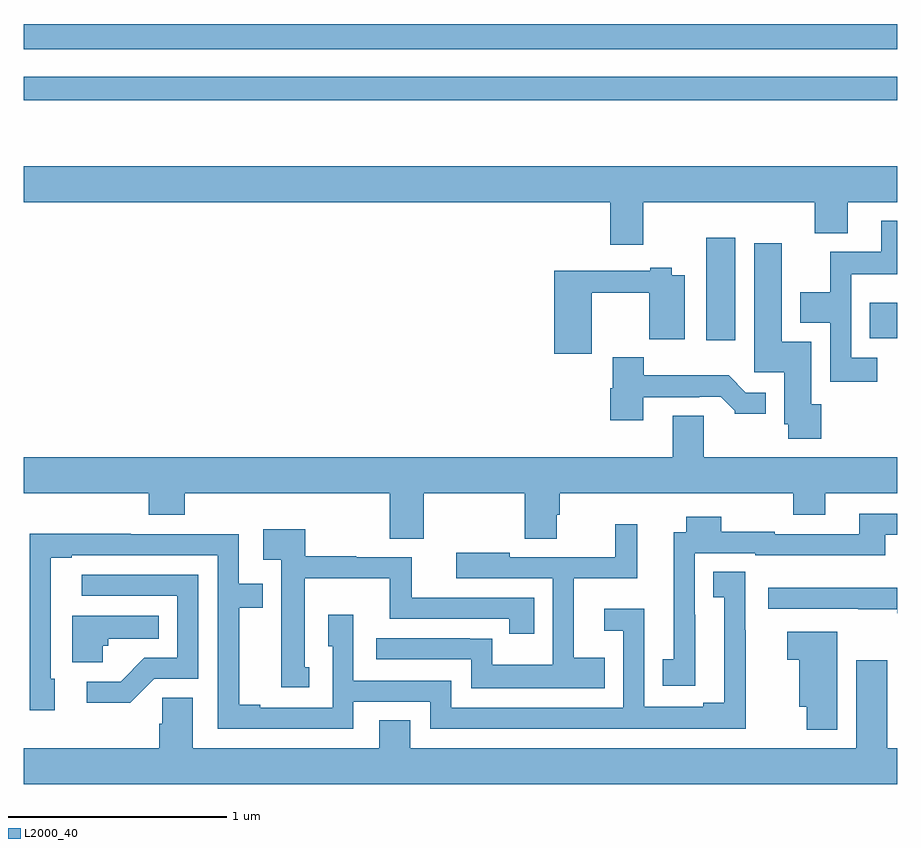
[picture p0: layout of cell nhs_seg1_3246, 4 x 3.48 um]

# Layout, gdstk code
import gdstk
lib = gdstk.Library(unit=1e-6, precision=1e-09)
def R(c, l, rs):  # rectangles x0, y0, x1, y1
    for r in rs: c.add(gdstk.rectangle(r[:2], r[2:], *l))
def P(c, l, *ps):  # polygons
    for p in ps: c.add(gdstk.Polygon(p, *l))
L2000_40 = (2000, 40)

nhs_seg1_3246 = lib.new_cell('nhs_seg1_3246')
R(nhs_seg1_3246, L2000_40, [(290.126,528.456,290.257,528.925), (290.875,528.464,291,528.628), (287,529.554,291,529.662), (287,529.788,291,529.904)])
P(nhs_seg1_3246, L2000_40, [(289.837,529.088),(290.621,529.088),(290.621,528.947),(290.773,528.947),(290.773,529.088),(291,529.088),(291,529.252),(287,529.252),(287,529.088),(289.685,529.088),(289.685,528.894),(289.837,528.894)],
  [(290.908,528.375),(290.79,528.375),(290.79,528.758),(291,528.758),(291,529.003),(290.927,529.003),(290.927,528.862),(290.692,528.862),(290.692,528.676),(290.555,528.676),(290.555,528.536),(290.694,528.536),(290.694,528.267),(290.908,528.267)],
  [(290.652,528.162),(290.605,528.162),(290.605,528.448),(290.47,528.448),(290.47,528.901),(290.345,528.901),(290.345,528.309),(290.483,528.309),(290.483,528.072),(290.5,528.072),(290.5,528.006),(290.652,528.006)],
  [(289.6,528.673),(289.864,528.673),(289.864,528.461),(290.026,528.461),(290.026,528.754),(289.968,528.754),(289.968,528.787),(289.868,528.787),(289.868,528.774),(289.43,528.774),(289.43,528.393),(289.6,528.393)],
  [(289.837,528.195),(290.093,528.195),(290.093,528.198),(290.192,528.198),(290.256,528.134),(290.256,528.119),(290.398,528.119),(290.398,528.216),(290.307,528.216),(290.229,528.295),(289.84,528.295),(289.84,528.379),(289.697,528.379),(289.697,528.237),(289.685,528.237),(289.685,528.09),(289.837,528.09)],
  [(289.973,528.11),(289.973,527.92),(287,527.92),(287,527.756),(287.573,527.756),(287.573,527.657),(287.738,527.657),(287.738,527.756),(288.676,527.756),(288.676,527.548),(288.831,527.548),(288.831,527.756),(289.294,527.756),(289.294,527.548),(289.441,527.548),(289.441,527.658),(289.454,527.658),(289.454,527.756),(290.524,527.756),(290.524,527.657),(290.671,527.657),(290.671,527.756),(291,527.756),(291,527.92),(290.113,527.92),(290.113,528.11)],
  [(290.074,527.198),(290.073,527.198),(290.073,527.481),(290.349,527.481),(290.349,527.471),(290.944,527.471),(290.944,527.565),(291,527.565),(291,527.661),(290.825,527.661),(290.825,527.568),(290.439,527.568),(290.439,527.578),(290.193,527.578),(290.193,527.647),(290.033,527.647),(290.033,527.577),(289.976,527.577),(289.976,526.995),(289.927,526.995),(289.927,526.875),(290.074,526.875)],
  [(289.661,527.002),(289.519,527.002),(289.519,527.366),(289.81,527.366),(289.81,527.614),(289.708,527.614),(289.708,527.463),(289.225,527.463),(289.225,527.482),(288.981,527.482),(288.981,527.367),(289.422,527.367),(289.422,526.969),(289.146,526.969),(289.146,527.09),(289.043,527.09),(289.043,527.091),(288.615,527.091),(288.615,526.995),(289.05,526.995),(289.05,526.862),(289.661,526.862)],
  [(288.307,526.959),(288.286,526.959),(288.286,527.366),(288.677,527.366),(288.677,527.181),(289.224,527.181),(289.224,527.112),(289.337,527.112),(289.337,527.277),(288.776,527.277),(288.776,527.463),(288.522,527.463),(288.522,527.468),(288.289,527.468),(288.289,527.59),(288.096,527.59),(288.096,527.45),(288.18,527.45),(288.18,527.354),(288.179,527.354),(288.179,526.866),(288.307,526.866)],
  [(290.307,527.129),(290.304,527.129),(290.304,527.396),(290.158,527.396),(290.158,527.278),(290.207,527.278),(290.207,526.795),(290.111,526.795),(290.111,526.777),(289.842,526.777),(289.842,527.227),(289.659,527.227),(289.659,527.126),(289.746,527.126),(289.746,526.773),(288.957,526.773),(288.957,526.896),(288.51,526.896),(288.51,527.2),(288.395,527.2),(288.395,527.055),(288.414,527.055),(288.414,526.773),(288.082,526.773),(288.082,526.786),(287.987,526.786),(287.987,527.232),(288.094,527.232),(288.094,527.34),(287.985,527.34),(287.985,527.568),(287.489,527.568),(287.489,527.57),(287.028,527.57),(287.028,526.761),(287.143,526.761),(287.143,526.905),(287.124,526.905),(287.124,527.46),(287.221,527.46),(287.221,527.472),(287.889,527.472),(287.889,526.677),(288.51,526.677),(288.51,526.8),(288.861,526.8),(288.861,526.677),(289.849,526.677),(289.849,526.676),(290.307,526.676)],
  [(287.598,526.905),(287.799,526.905),(287.799,527.382),(287.265,527.382),(287.265,527.286),(287.703,527.286),(287.703,527.001),(287.552,527.001),(287.444,526.893),(287.289,526.893),(287.289,526.796),(287.488,526.796)],
  [(291,527.323),(290.409,527.323),(290.409,527.226),(290.821,527.226),(290.821,527.224),(290.999,527.224),(290.999,527.206),(291,527.206)],
  [(287.362,527.058),(287.388,527.058),(287.388,527.09),(287.618,527.09),(287.618,527.194),(287.222,527.194),(287.222,526.982),(287.362,526.982)],
  [(290.725,527.122),(290.496,527.122),(290.496,526.993),(290.552,526.993),(290.552,526.778),(290.585,526.778),(290.585,526.673),(290.725,526.673)],
  [(291,526.588),(290.953,526.588),(290.953,526.99),(290.813,526.99),(290.813,526.588),(288.769,526.588),(288.769,526.715),(288.629,526.715),(288.629,526.588),(287.773,526.588),(287.773,526.82),(287.635,526.82),(287.635,526.7),(287.621,526.7),(287.621,526.588),(287,526.588),(287,526.424),(291,526.424)])

lib.write_gds('nhs_seg1_3246.gds')
